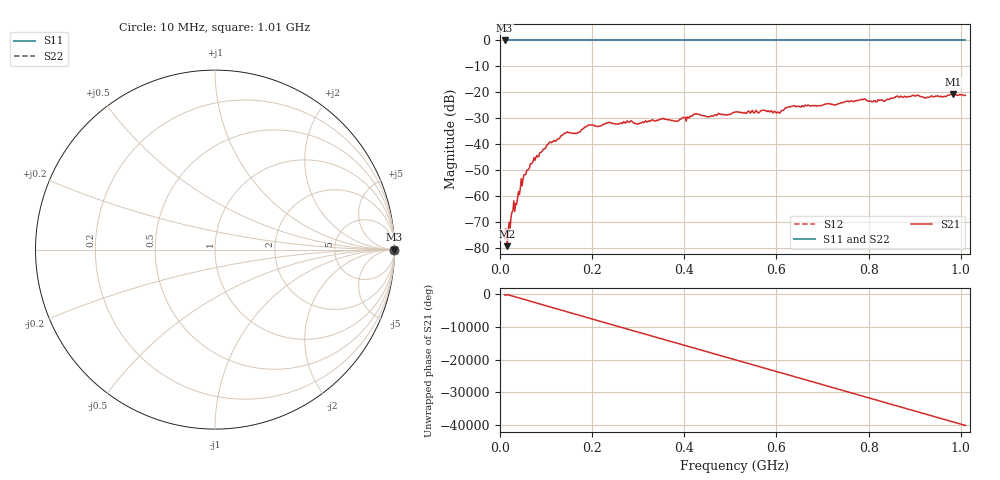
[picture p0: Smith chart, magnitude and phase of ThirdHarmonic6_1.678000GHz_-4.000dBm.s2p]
! 8/16/2025 8:07:47 PM
! C:\ANRITSUVNA\TEMP\TEMP.S2P
! CHANNEL.1
! TR.MEASUREMENT
! RAW.DATA
! RF.CORRECTION.OFF
! AVERAGING.OFF
! IF.BANDWIDTH: 5KHZ
! SWEEPTYPE:  FREQ.SWEEP(Linear)
! Reference Plane Port Info
! PORT:  PORT1  PORT2
! DISTANCE:  0  m  0  m
! TIME:  0  s  0  s
! PHASE.OFFSET:  0  deg.  0  deg.
! LOSS:  0  dB  0  dB
! REF.LOSS:  0  dB  0  dB
! REF.FREQ:  0  Hz  0  Hz
! Power Info
! POWER:  -20  dBm  -20  dBm
! EFF.POWER:  -20  dBm  -20  dBm
! SOURCE.ATTEN:  0  dB  0  dB
! TEST.ATTEN:  0  dB  0  dB
# GHZ S RI R 50.0
! FREQ.GHZ  S11RE  S11IM  S21RE  S21IM  S12RE  S12IM  S22RE  S22IM
!; PortSelection: Port_12
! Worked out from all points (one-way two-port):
!   501 points, 10 MHz to 1.01 GHz, reference 50 ohm
!   highest |S21| = -20.76 dB at 984 MHz (marker M1); lowest = -79.2 dB at 16 MHz (marker M2)
!   lowest |S11| = 0.0 dB at 10 MHz (marker M3)
!   |S11| at or under -10 dB: nowhere
!   |S22| runs from 0.0 to 0.0 dB; largest |S21 - S12| = 1.1
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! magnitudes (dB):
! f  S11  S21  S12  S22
! 10 MHz  0.0  -76.3  0.0  0.0
! 16 MHz  0.0  -79.2  0.0  0.0
! 20 MHz  0.0  -69.9  0.0  0.0
! 26 MHz  0.0  -66.1  0.0  0.0
! 36 MHz  0.0  -63.0  0.0  0.0
! 50 MHz  0.0  -53.2  0.0  0.0
! 70 MHz  0.0  -47.2  0.0  0.0
! 106 MHz  0.0  -39.6  0.0  0.0
! 142 MHz  0.0  -35.6  0.0  0.0
! 178 MHz  0.0  -34.3  0.0  0.0
! 234 MHz  0.0  -31.8  0.0  0.0
! 344 MHz  0.0  -30.7  0.0  0.0
! 382 MHz  0.0  -31.0  0.0  0.0
! 424 MHz  0.0  -28.3  0.0  0.0
! 452 MHz  0.0  -29.4  0.0  0.0
! 510 MHz  0.0  -27.6  0.0  0.0
! 604 MHz  0.0  -27.5  0.0  0.0
! 636 MHz  0.0  -25.2  0.0  0.0
! 678 MHz  0.0  -25.0  0.0  0.0
! 844 MHz  0.0  -22.7  0.0  0.0
! 984 MHz  0.0  -20.8  0.0  0.0
! 1.01 GHz  0.0  -21.1  0.0  0.0
